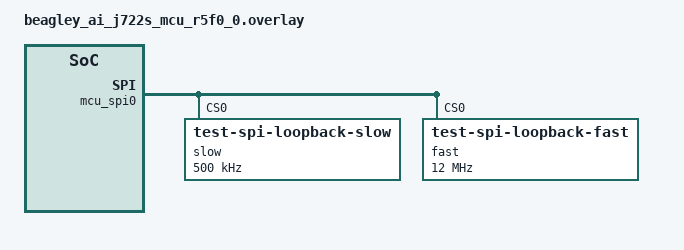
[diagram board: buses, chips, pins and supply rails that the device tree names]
/* Copyright (C) 2026 BeagleBoard.org Foundation
 * Copyright (C) 2026 Dhruv Menon <dhruvmenon1104@gmail.com>
 *
 * SPDX-License-Identifier: Apache-2.0
 *
 * Wire HAT SPI0 MOSI (pin 19) to MISO (pin 21) for an external loopback, or
 * use CONFIG_SPI_LOOPBACK_MODE_LOOP for controller internal loopback.
 */

#include <freq.h>

&mcu_spi0 {
	slow@0 {
		compatible = "test-spi-loopback-slow";
		reg = <0>;
		spi-max-frequency = <DT_FREQ_K(500)>;
	};

	fast@0 {
		compatible = "test-spi-loopback-fast";
		reg = <0>;
		spi-max-frequency = <DT_FREQ_M(12)>;
	};
};
